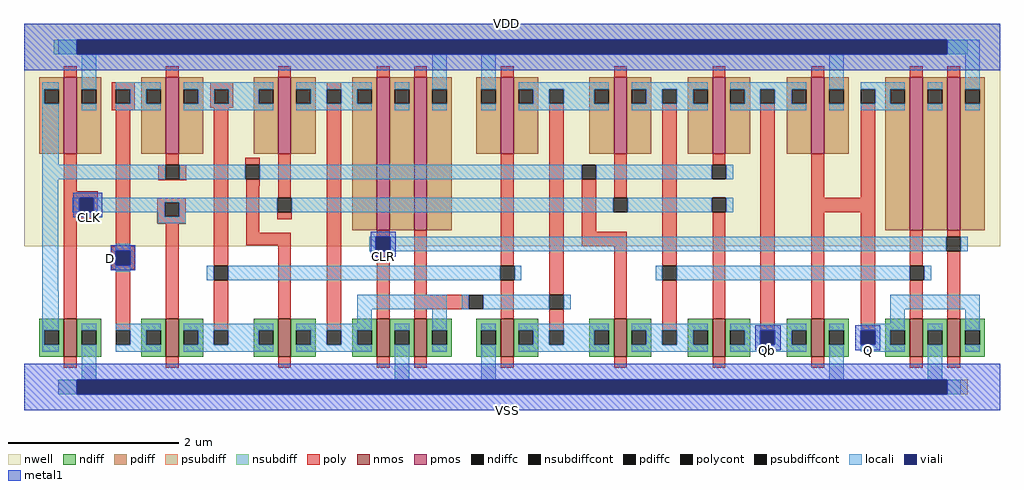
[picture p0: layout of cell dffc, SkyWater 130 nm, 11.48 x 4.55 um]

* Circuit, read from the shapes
.subckt dffc CLK CLR D Q Qb VDD VSS
XM1 VSS CLK n1 VSS sky130_fd_pr__nfet_01v8 w=0.45 l=0.15
XM2 n2 CLK D VSS sky130_fd_pr__nfet_01v8 w=0.45 l=0.15
XM3 n3 n1 n2 VSS sky130_fd_pr__nfet_01v8 w=0.45 l=0.15
XM4 VSS CLR n3 VSS sky130_fd_pr__nfet_01v8 w=0.45 l=0.15
XM5 n3 n4 VSS VSS sky130_fd_pr__nfet_01v8 w=0.45 l=0.15
XM6 n4 n2 VSS VSS sky130_fd_pr__nfet_01v8 w=0.45 l=0.15
XM7 n5 n1 n4 VSS sky130_fd_pr__nfet_01v8 w=0.45 l=0.15
XM8 Qb CLK n5 VSS sky130_fd_pr__nfet_01v8 w=0.45 l=0.15
XM9 VSS Q Qb VSS sky130_fd_pr__nfet_01v8 w=0.45 l=0.15
XM10 VSS n5 Q VSS sky130_fd_pr__nfet_01v8 w=0.45 l=0.15
XM11 Q CLR VSS VSS sky130_fd_pr__nfet_01v8 w=0.45 l=0.15
XM12 VDD CLK n1 VDD sky130_fd_pr__pfet_01v8 w=0.9 l=0.15
XM13 n2 n1 D VDD sky130_fd_pr__pfet_01v8 w=0.9 l=0.15
XM14 n3 CLK n2 VDD sky130_fd_pr__pfet_01v8 w=0.9 l=0.15
XM15 n6 CLR n3 VDD sky130_fd_pr__pfet_01v8 w=1.8 l=0.15
XM16 VDD n4 n6 VDD sky130_fd_pr__pfet_01v8 w=1.8 l=0.15
XM17 n4 n2 VDD VDD sky130_fd_pr__pfet_01v8 w=0.9 l=0.15
XM18 n5 CLK n4 VDD sky130_fd_pr__pfet_01v8 w=0.9 l=0.15
XM19 Qb n1 n5 VDD sky130_fd_pr__pfet_01v8 w=0.9 l=0.15
XM20 VDD Q Qb VDD sky130_fd_pr__pfet_01v8 w=0.9 l=0.15
XM21 n7 n5 Q VDD sky130_fd_pr__pfet_01v8 w=1.8 l=0.15
XM22 VDD CLR n7 VDD sky130_fd_pr__pfet_01v8 w=1.8 l=0.15
.ends

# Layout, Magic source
magic
tech sky130A
magscale 1 2
<< nwell >>
rect -66 280 2230 804
<< nmos >>
rect 28 20 58 110
rect 268 20 298 110
rect 532 20 562 110
rect 764 20 794 110
rect 852 20 882 110
rect 1056 20 1086 110
rect 1322 20 1352 110
rect 1554 20 1584 110
rect 1786 20 1816 110
rect 2018 20 2048 110
rect 2106 20 2136 110
<< pmos >>
rect 28 498 58 678
rect 268 498 298 678
rect 532 498 562 678
rect 764 318 794 678
rect 852 318 882 678
rect 1056 498 1086 678
rect 1322 498 1352 678
rect 1554 498 1584 678
rect 1786 498 1816 678
rect 2018 318 2048 678
rect 2106 318 2136 678
<< ndiff >>
rect -30 82 28 110
rect -30 48 -18 82
rect 16 48 28 82
rect -30 20 28 48
rect 58 82 116 110
rect 58 48 70 82
rect 104 48 116 82
rect 210 82 268 110
rect 210 48 222 82
rect 256 48 268 82
rect 58 20 116 48
rect 210 20 268 48
rect 298 82 356 110
rect 298 48 310 82
rect 344 48 356 82
rect 474 82 532 110
rect 474 48 486 82
rect 520 48 532 82
rect 298 20 356 48
rect 474 20 532 48
rect 562 82 620 110
rect 562 48 574 82
rect 608 48 620 82
rect 706 82 764 110
rect 706 48 718 82
rect 752 48 764 82
rect 562 20 620 48
rect 706 20 764 48
rect 794 82 852 110
rect 794 48 806 82
rect 840 48 852 82
rect 794 20 852 48
rect 882 82 940 110
rect 882 48 894 82
rect 928 48 940 82
rect 882 20 940 48
rect 998 82 1056 110
rect 998 48 1010 82
rect 1044 48 1056 82
rect 998 20 1056 48
rect 1086 82 1144 110
rect 1086 48 1098 82
rect 1132 48 1144 82
rect 1264 82 1322 110
rect 1264 48 1276 82
rect 1310 48 1322 82
rect 1086 20 1144 48
rect 1264 20 1322 48
rect 1352 82 1410 110
rect 1352 48 1364 82
rect 1398 48 1410 82
rect 1496 82 1554 110
rect 1496 48 1508 82
rect 1542 48 1554 82
rect 1352 20 1410 48
rect 1496 20 1554 48
rect 1584 82 1642 110
rect 1584 48 1596 82
rect 1630 48 1642 82
rect 1728 82 1786 110
rect 1728 48 1740 82
rect 1774 48 1786 82
rect 1584 20 1642 48
rect 1728 20 1786 48
rect 1816 82 1874 110
rect 1816 48 1828 82
rect 1862 48 1874 82
rect 1960 82 2018 110
rect 1960 48 1972 82
rect 2006 48 2018 82
rect 1816 20 1874 48
rect 1960 20 2018 48
rect 2048 82 2106 110
rect 2048 48 2060 82
rect 2094 48 2106 82
rect 2048 20 2106 48
rect 2136 82 2194 110
rect 2136 48 2148 82
rect 2182 48 2194 82
rect 2136 20 2194 48
<< pdiff >>
rect -30 650 28 678
rect -30 616 -18 650
rect 16 616 28 650
rect -30 498 28 616
rect 58 650 116 678
rect 58 616 70 650
rect 104 616 116 650
rect 58 498 116 616
rect 210 650 268 678
rect 210 616 222 650
rect 256 616 268 650
rect 210 498 268 616
rect 298 650 356 678
rect 298 616 310 650
rect 344 616 356 650
rect 298 498 356 616
rect 474 650 532 678
rect 474 616 486 650
rect 520 616 532 650
rect 474 498 532 616
rect 562 650 620 678
rect 562 616 574 650
rect 608 616 620 650
rect 562 498 620 616
rect 706 650 764 678
rect 706 616 718 650
rect 752 616 764 650
rect 706 318 764 616
rect 794 650 852 678
rect 794 616 806 650
rect 840 616 852 650
rect 794 318 852 616
rect 882 650 940 678
rect 882 616 894 650
rect 928 616 940 650
rect 882 318 940 616
rect 998 650 1056 678
rect 998 616 1010 650
rect 1044 616 1056 650
rect 998 498 1056 616
rect 1086 650 1144 678
rect 1264 650 1322 678
rect 1086 616 1098 650
rect 1132 616 1144 650
rect 1086 498 1144 616
rect 1264 616 1276 650
rect 1310 616 1322 650
rect 1264 498 1322 616
rect 1352 650 1410 678
rect 1496 650 1554 678
rect 1352 616 1364 650
rect 1398 616 1410 650
rect 1352 498 1410 616
rect 1496 616 1508 650
rect 1542 616 1554 650
rect 1496 498 1554 616
rect 1584 650 1642 678
rect 1728 650 1786 678
rect 1584 616 1596 650
rect 1630 616 1642 650
rect 1584 498 1642 616
rect 1728 616 1740 650
rect 1774 616 1786 650
rect 1728 498 1786 616
rect 1816 650 1874 678
rect 1960 650 2018 678
rect 1816 616 1828 650
rect 1862 616 1874 650
rect 1816 498 1874 616
rect 1960 616 1972 650
rect 2006 616 2018 650
rect 1960 318 2018 616
rect 2048 650 2106 678
rect 2048 616 2060 650
rect 2094 616 2106 650
rect 2048 318 2106 616
rect 2136 650 2194 678
rect 2136 616 2148 650
rect 2182 616 2194 650
rect 2136 318 2194 616
<< ndiffc >>
rect -18 48 16 82
rect 70 48 104 82
rect 222 48 256 82
rect 310 48 344 82
rect 486 48 520 82
rect 574 48 608 82
rect 718 48 752 82
rect 806 48 840 82
rect 894 48 928 82
rect 1010 48 1044 82
rect 1098 48 1132 82
rect 1276 48 1310 82
rect 1364 48 1398 82
rect 1508 48 1542 82
rect 1596 48 1630 82
rect 1740 48 1774 82
rect 1828 48 1862 82
rect 1972 48 2006 82
rect 2060 48 2094 82
rect 2148 48 2182 82
<< pdiffc >>
rect -18 616 16 650
rect 70 616 104 650
rect 222 616 256 650
rect 310 616 344 650
rect 486 616 520 650
rect 574 616 608 650
rect 718 616 752 650
rect 806 616 840 650
rect 894 616 928 650
rect 1010 616 1044 650
rect 1098 616 1132 650
rect 1276 616 1310 650
rect 1364 616 1398 650
rect 1508 616 1542 650
rect 1596 616 1630 650
rect 1740 616 1774 650
rect 1828 616 1862 650
rect 1972 616 2006 650
rect 2060 616 2094 650
rect 2148 616 2182 650
<< psubdiff >>
rect 14 -68 58 -34
rect 2106 -68 2154 -34
<< nsubdiff >>
rect 4 732 58 766
rect 2106 732 2154 766
<< psubdiffcont >>
rect 58 -68 2106 -34
<< nsubdiffcont >>
rect 58 732 2106 766
<< poly >>
rect 28 678 58 704
rect 268 678 298 704
rect 532 678 562 704
rect 764 678 794 704
rect 852 678 882 704
rect 1056 678 1086 704
rect 1322 678 1352 704
rect 1554 678 1584 704
rect 1786 678 1816 704
rect 2018 678 2048 704
rect 2106 678 2136 704
rect 140 650 194 666
rect 140 616 150 650
rect 184 616 194 650
rect 140 600 194 616
rect 28 410 58 498
rect 28 394 108 410
rect 28 360 64 394
rect 98 360 108 394
rect 28 344 108 360
rect 28 110 58 344
rect 150 280 184 600
rect 372 650 426 666
rect 372 616 382 650
rect 416 616 426 650
rect 372 606 426 616
rect 380 600 416 606
rect 268 472 298 498
rect 250 438 266 472
rect 300 438 316 472
rect 250 436 316 438
rect 247 384 315 394
rect 247 350 265 384
rect 299 350 315 384
rect 247 333 315 350
rect 140 270 194 280
rect 140 236 150 270
rect 184 236 194 270
rect 140 226 194 236
rect 150 82 184 226
rect 268 110 298 333
rect 380 234 414 600
rect 646 650 680 666
rect 455 472 489 488
rect 457 422 489 438
rect 457 312 487 422
rect 532 394 562 498
rect 530 344 564 360
rect 457 282 562 312
rect 380 82 414 200
rect 532 110 562 282
rect 646 82 680 616
rect 764 302 794 318
rect 764 110 794 268
rect 852 166 882 318
rect 1056 234 1086 498
rect 852 132 980 166
rect 852 110 882 132
rect 1056 110 1086 200
rect 1170 166 1204 616
rect 1246 314 1280 438
rect 1322 394 1352 498
rect 1246 280 1352 314
rect 1170 82 1204 132
rect 1322 110 1352 280
rect 1436 234 1470 616
rect 1554 472 1584 498
rect 1554 394 1584 396
rect 1436 82 1470 200
rect 1554 110 1584 360
rect 1666 82 1700 616
rect 1786 394 1816 498
rect 1902 394 1936 616
rect 1786 360 1936 394
rect 1786 110 1816 360
rect 1902 82 1936 360
rect 2018 234 2048 318
rect 2106 302 2136 318
rect 2018 110 2048 200
rect 2106 110 2136 268
rect 28 -6 58 20
rect 268 -6 298 20
rect 532 -6 562 20
rect 764 -6 794 20
rect 852 -6 882 20
rect 1056 -6 1086 20
rect 1322 -6 1352 20
rect 1554 -6 1584 20
rect 1786 -6 1816 20
rect 2018 -6 2048 20
rect 2106 -6 2136 20
<< polycont >>
rect 150 616 184 650
rect 64 360 98 394
rect 382 616 416 650
rect 266 438 300 472
rect 265 350 299 384
rect 150 236 184 270
rect 646 616 680 650
rect 455 438 489 472
rect 530 360 564 394
rect 380 200 414 234
rect 150 48 184 82
rect 380 48 414 82
rect 1170 616 1204 650
rect 762 268 796 302
rect 1054 200 1088 234
rect 980 132 1014 166
rect 1436 616 1470 650
rect 1246 438 1280 472
rect 1320 360 1354 394
rect 1170 132 1204 166
rect 646 48 680 82
rect 1666 616 1700 650
rect 1552 438 1586 472
rect 1552 360 1586 394
rect 1436 200 1470 234
rect 1170 48 1204 82
rect 1436 48 1470 82
rect 1902 616 1936 650
rect 1666 48 1700 82
rect 2104 268 2138 302
rect 2018 200 2052 234
rect 1902 48 1936 82
<< locali >>
rect 14 732 58 766
rect 2106 732 2182 766
rect -23 650 16 666
rect -23 616 -18 650
rect -23 472 16 616
rect 70 650 104 732
rect 70 600 104 616
rect 150 650 256 666
rect 184 616 222 650
rect 150 600 256 616
rect 310 650 520 666
rect 344 616 382 650
rect 416 616 486 650
rect 310 600 520 616
rect 574 650 752 666
rect 608 616 646 650
rect 680 616 718 650
rect 574 600 752 616
rect 806 650 840 666
rect 806 600 840 616
rect 894 650 928 732
rect 894 600 928 616
rect 1010 650 1044 732
rect 1010 600 1044 616
rect 1098 650 1310 666
rect 1132 616 1170 650
rect 1204 616 1276 650
rect 1098 600 1310 616
rect 1364 650 1542 666
rect 1398 616 1436 650
rect 1470 616 1508 650
rect 1364 600 1542 616
rect 1596 650 1774 666
rect 1630 616 1666 650
rect 1700 616 1740 650
rect 1596 600 1774 616
rect 1828 650 1862 732
rect 1828 600 1862 616
rect 1902 650 2006 666
rect 1936 616 1972 650
rect 1902 600 2006 616
rect 2060 650 2094 666
rect 2060 600 2094 616
rect 2148 650 2182 732
rect 2148 600 2182 616
rect -23 438 266 472
rect 300 438 455 472
rect 489 438 1246 472
rect 1280 438 1552 472
rect 1586 438 1602 472
rect -23 175 14 438
rect 48 360 64 394
rect 98 384 530 394
rect 98 360 265 384
rect 249 350 265 360
rect 299 360 530 384
rect 564 360 1320 394
rect 1354 360 1552 394
rect 1586 360 1602 394
rect 299 350 315 360
rect 249 334 315 350
rect 150 270 184 286
rect 746 268 762 302
rect 796 268 2104 302
rect 2138 268 2154 302
rect 150 220 184 236
rect 364 200 380 234
rect 414 200 1054 234
rect 1088 200 1104 234
rect 1420 200 1436 234
rect 1470 200 2018 234
rect 2052 200 2068 234
rect -23 82 16 175
rect 718 132 928 166
rect 964 132 980 166
rect 1014 132 1170 166
rect 1204 132 1220 166
rect 1972 132 2182 166
rect 718 98 752 132
rect -23 48 -18 82
rect -23 32 16 48
rect 70 82 104 98
rect 70 -34 104 48
rect 150 82 256 98
rect 184 48 222 82
rect 150 32 256 48
rect 310 82 520 98
rect 344 48 380 82
rect 414 48 486 82
rect 310 32 520 48
rect 574 82 752 98
rect 608 48 646 82
rect 680 48 718 82
rect 574 32 752 48
rect 806 82 840 98
rect 806 -34 840 48
rect 894 82 928 132
rect 1972 98 2006 132
rect 894 32 928 48
rect 1010 82 1044 98
rect 1010 -34 1044 48
rect 1098 82 1310 98
rect 1132 48 1170 82
rect 1204 48 1276 82
rect 1098 32 1310 48
rect 1364 82 1542 98
rect 1398 48 1436 82
rect 1470 48 1508 82
rect 1364 32 1542 48
rect 1596 82 1774 98
rect 1630 48 1666 82
rect 1700 48 1740 82
rect 1596 32 1774 48
rect 1828 82 1862 98
rect 1828 -34 1862 48
rect 1902 82 2006 98
rect 1936 48 1972 82
rect 1902 32 2006 48
rect 2060 82 2094 98
rect 2060 -34 2094 48
rect 2148 82 2182 132
rect 2148 32 2182 48
rect 14 -68 58 -34
rect 2106 -68 2138 -34
<< viali >>
rect 58 732 2106 766
rect 64 360 98 394
rect 150 236 184 270
rect 762 268 796 302
rect 1666 48 1700 82
rect 1902 48 1936 82
rect 58 -68 2106 -34
<< metal1 >>
rect -66 766 2230 804
rect -66 732 58 766
rect 2106 732 2230 766
rect -66 694 2230 732
rect 50 394 118 406
rect 50 360 64 394
rect 98 360 118 394
rect 50 348 118 360
rect 750 302 808 314
rect 138 270 196 282
rect 138 236 150 270
rect 184 236 196 270
rect 750 268 762 302
rect 796 268 808 302
rect 750 256 808 268
rect 138 224 196 236
rect 1654 82 1714 94
rect 1654 48 1666 82
rect 1700 48 1714 82
rect 1654 36 1714 48
rect 1890 82 1948 94
rect 1890 48 1902 82
rect 1936 48 1948 82
rect 1890 36 1948 48
rect -66 -34 2230 4
rect -66 -68 58 -34
rect 2106 -68 2230 -34
rect -66 -106 2230 -68
<< labels >>
rlabel metal1 1072 -106 1072 -106 5 VSS
rlabel metal1 1070 804 1070 804 1 VDD
rlabel metal1 88 348 88 348 5 CLK
rlabel metal1 138 252 138 252 7 D
rlabel metal1 780 256 780 256 5 CLR
rlabel metal1 1684 36 1684 36 5 Qb
rlabel metal1 1920 36 1920 36 5 Q
<< end >>
